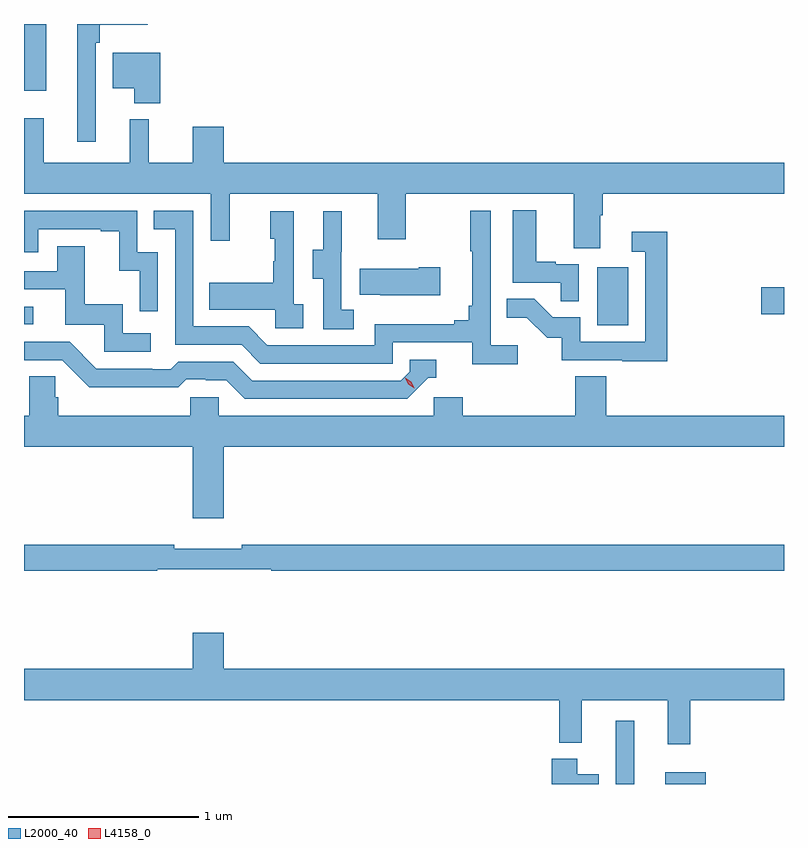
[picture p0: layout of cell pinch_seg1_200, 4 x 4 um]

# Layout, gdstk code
import gdstk
lib = gdstk.Library(unit=1e-6, precision=1e-09)
def R(c, l, rs):  # rectangles x0, y0, x1, y1
    for r in rs: c.add(gdstk.rectangle(r[:2], r[2:], *l))
def P(c, l, *ps):  # polygons
    for p in ps: c.add(gdstk.Polygon(p, *l))
L2000_40 = (2000, 40)
L4158_0 = (4158, 0)

pinch_seg1_200 = lib.new_cell('pinch_seg1_200')
R(pinch_seg1_200, L2000_40, [(994.407,579.262,994.504,579.595), (994.667,579.262,994.882,579.325), (994.31,581.676,994.474,581.983), (991.293,581.682,991.342,581.775), (995.172,581.735,995.293,581.877), (991.293,582.911,991.411,583.262)])
P(pinch_seg1_200, L2000_40, [(991.671,583.163),(991.691,583.163),(991.691,583.259),(991.944,583.259),(991.944,583.262),(991.574,583.262),(991.574,582.642),(991.671,582.642)],
  [(992.009,583.111),(991.76,583.111),(991.76,582.923),(991.874,582.923),(991.874,582.845),(992.009,582.845)],
  [(994.327,582.256),(994.34,582.256),(994.34,582.368),(995.293,582.368),(995.293,582.532),(992.344,582.532),(992.344,582.721),(992.18,582.721),(992.18,582.532),(991.95,582.532),(991.95,582.76),(991.85,582.76),(991.85,582.532),(991.397,582.532),(991.397,582.766),(991.293,582.766),(991.293,582.368),(992.277,582.368),(992.277,582.12),(992.375,582.12),(992.375,582.368),(993.155,582.368),(993.155,582.129),(993.303,582.129),(993.303,582.368),(994.187,582.368),(994.187,582.082),(994.327,582.082)],
  [(994.212,581.997),(994.091,581.997),(994.091,582.01),(993.988,582.01),(993.988,582.283),(993.866,582.283),(993.866,581.901),(994.117,581.901),(994.117,581.803),(994.212,581.803)],
  [(993.892,581.572),(993.75,581.572),(993.75,582.28),(993.642,582.28),(993.642,582.067),(993.653,582.067),(993.653,581.779),(993.634,581.779),(993.634,581.702),(993.557,581.702),(993.557,581.683),(993.138,581.683),(993.138,581.571),(992.574,581.571),(992.475,581.67),(992.184,581.67),(992.184,582.279),(991.975,582.279),(991.975,582.183),(992.088,582.183),(992.088,581.574),(992.438,581.574),(992.537,581.475),(993.234,581.475),(993.234,581.586),(993.653,581.586),(993.653,581.47),(993.892,581.47)],
  [(991.998,582.06),(991.89,582.06),(991.89,582.279),(991.293,582.279),(991.293,582.06),(991.368,582.06),(991.368,582.183),(991.697,582.183),(991.697,582.171),(991.793,582.171),(991.793,581.963),(991.902,581.963),(991.902,581.751),(991.998,581.751)],
  [(992.764,581.786),(992.712,581.786),(992.712,582.277),(992.588,582.277),(992.588,582.132),(992.614,582.132),(992.614,582.014),(992.604,582.014),(992.604,581.899),(992.269,581.899),(992.269,581.759),(992.616,581.759),(992.616,581.661),(992.764,581.661)],
  [(993.028,581.759),(992.964,581.759),(992.964,582.063),(992.966,582.063),(992.966,582.277),(992.867,582.277),(992.867,582.075),(992.813,582.075),(992.813,581.92),(992.868,581.92),(992.868,581.656),(993.028,581.656)],
  [(994.679,582.169),(994.491,582.169),(994.491,582.063),(994.563,582.063),(994.563,581.589),(994.221,581.589),(994.221,581.718),(994.076,581.718),(993.978,581.816),(993.835,581.816),(993.835,581.717),(993.939,581.717),(994.046,581.61),(994.123,581.61),(994.123,581.493),(994.441,581.493),(994.441,581.488),(994.679,581.488)],
  [(991.96,581.634),(991.812,581.634),(991.812,581.788),(991.613,581.788),(991.613,582.091),(991.469,582.091),(991.469,581.961),(991.293,581.961),(991.293,581.865),(991.511,581.865),(991.511,581.679),(991.716,581.679),(991.716,581.538),(991.96,581.538)],
  [(993.484,581.982),(993.371,581.982),(993.371,581.974),(993.061,581.974),(993.061,581.837),(993.169,581.837),(993.169,581.834),(993.484,581.834)],
  [(993.42,581.4),(993.463,581.4),(993.463,581.496),(993.324,581.496),(993.324,581.433),(993.276,581.385),(992.493,581.385),(992.394,581.484),(992.105,581.484),(992.066,581.445),(991.967,581.445),(991.967,581.448),(991.674,581.448),(991.533,581.589),(991.293,581.589),(991.293,581.493),(991.494,581.493),(991.636,581.351),(991.872,581.351),(991.872,581.349),(992.105,581.349),(992.147,581.391),(992.25,581.391),(992.25,581.388),(992.357,581.388),(992.456,581.289),(993.309,581.289)],
  [(992.344,581.036),(995.293,581.036),(995.293,581.2),(994.358,581.2),(994.358,581.408),(994.193,581.408),(994.193,581.2),(993.602,581.2),(993.602,581.298),(993.45,581.298),(993.45,581.2),(992.319,581.2),(992.319,581.298),(992.169,581.298),(992.169,581.2),(991.472,581.2),(991.472,581.298),(991.457,581.298),(991.457,581.408),(991.32,581.408),(991.32,581.2),(991.293,581.2),(991.293,581.036),(992.18,581.036),(992.18,580.662),(992.344,580.662)],
  [(991.994,580.392),(992.594,580.392),(992.594,580.384),(995.293,580.384),(995.293,580.52),(992.44,580.52),(992.44,580.501),(992.084,580.501),(992.084,580.52),(991.293,580.52),(991.293,580.384),(991.994,580.384)],
  [(992.344,580.057),(992.18,580.057),(992.18,579.868),(991.293,579.868),(991.293,579.704),(994.111,579.704),(994.111,579.479),(994.229,579.479),(994.229,579.704),(994.682,579.704),(994.682,579.471),(994.799,579.471),(994.799,579.704),(995.293,579.704),(995.293,579.868),(992.344,579.868)],
  [(994.318,579.313),(994.204,579.313),(994.204,579.394),(994.07,579.394),(994.07,579.262),(994.318,579.262)])
P(pinch_seg1_200, L4158_0, [(993.346,581.346),(993.316,581.366),(993.299,581.398),(993.299,581.399),(993.3,581.399),(993.33,581.379),(993.347,581.346),(993.347,581.346)])

lib.write_gds('pinch_seg1_200.gds')
